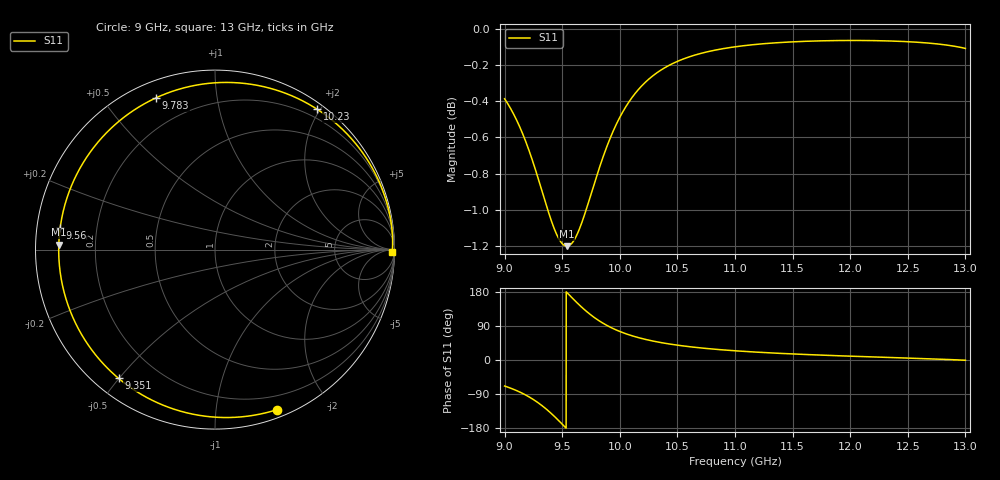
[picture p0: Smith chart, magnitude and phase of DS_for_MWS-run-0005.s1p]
! TOUCHSTONE file generated by CST DESIGN STUDIO
! Date and time: Tue Feb  4 18:11:12 2025
! Project name: C:\Work\MatlabApps\UnitCellOptimizationMatlab\CST\unitcell.cst
! Tree item: Tasks\Sweep1\SPara1\S-Parameters
! Header version: 2024
! Port assignment regex: !\s*Touchstone port\s*([0-9]+)\s*=\s*(CST MWS port|CST DES external port|CST DES block port)\s*(.+)\s* \(\"(.*)\"\)(\s*mode\s*([0-9]+))?.*
! Touchstone port assignment:
! Touchstone port 1 = CST DES external port 1 ("")
# GHz S MA R 50
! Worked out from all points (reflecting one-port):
!   4001 points, 9 GHz to 13 GHz, reference 50 ohm
!   lowest |S11| = -1.2 dB at 9.54 GHz (marker M1), VSWR 14.48, Z = 3.45 + j0.776 ohm
!   phase of S11 starts at -69 deg and turns -292 deg over the sweep
!   S11 on the Smith chart (normalised r, x): 9 GHz: 0.07, -1.46; 9.351 GHz: 0.07, -0.50; 9.56 GHz: 0.07, +0.07; 9.783 GHz: 0.07, +0.68; 10.23 GHz: 0.08, +1.96; 13 GHz: open
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9  0.9566 -68.7
9.098  0.9445 -80.0
9.207  0.9265 -96.4
9.283  0.911 -111.1
9.351  0.8962 -126.8
9.421  0.8823 -145.6
9.462  0.876 -157.6
9.5  0.8723 -169.3
9.54  0.8708 178.2
9.56  0.8712 171.9
9.614  0.8754 155.3
9.676  0.8851 137.5
9.729  0.8957 123.7
9.783  0.9072 111.2
9.829  0.9167 101.8
9.879  0.9263 92.8
9.939  0.9365 83.4
10  0.9453 75.3
10.108  0.9575 63.8
10.228  0.9671 54.0
10.354  0.9741 46.1
10.5  0.9796 39.1
10.721  0.9849 31.3
11  0.9887 24.3
11.5  0.9919 16.0
12  0.9927 10.1
12.5  0.992 5.1
13  0.9877 -0.6
